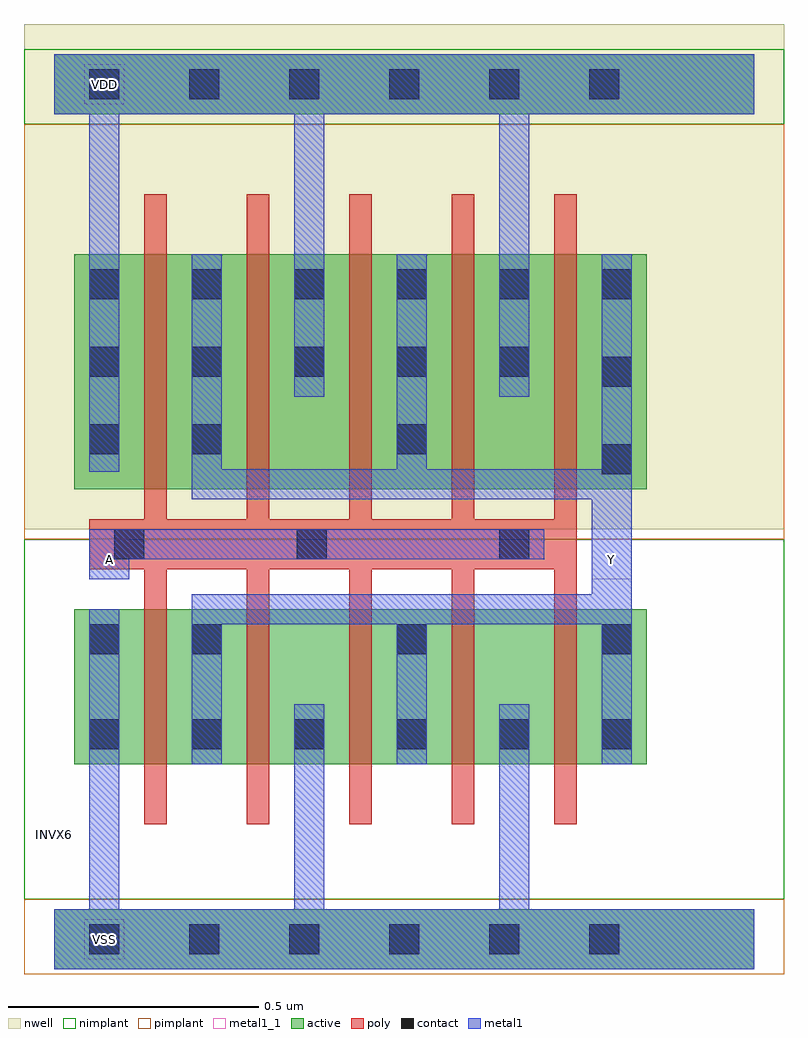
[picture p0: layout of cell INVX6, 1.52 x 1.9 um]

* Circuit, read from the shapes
.subckt INVX6 A VDD VSS Y
M1 Y A VSS VSS nfet w=0.31u l=0.045u m=5
M2 Y A VDD VDD pfet w=0.47u l=0.045u m=5
.ends

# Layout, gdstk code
import gdstk
lib = gdstk.Library(unit=1e-6, precision=5e-10)
def R(c, l, rs):  # rectangles x0, y0, x1, y1
    for r in rs: c.add(gdstk.rectangle(r[:2], r[2:], *l))
def A(c, l, x, y, w, h, nx, ny, dx, dy):  # array of equal rectangles
    R(c, l, [(x+i*dx, y+j*dy, x+i*dx+w, y+j*dy+h) for i in range(nx) for j in range(ny)])
def P(c, l, *ps):  # polygons
    for p in ps: c.add(gdstk.Polygon(p, *l))
active = (1, 0)
nwell = (2, 0)
poly = (3, 0)
nimplant = (4, 0)
pimplant = (5, 0)
contact = (6, 0)
metal1 = (7, 0)
metal1_1 = (7, 1)

invx6 = lib.new_cell('INVX6')
R(invx6, active, [(0,-0.06,1.4,0.06), (0.04,0.35,1.185,0.66), (0.04,0.9,1.185,1.37), (0,1.65,1.4,1.77)])
R(invx6, nwell, [(-0.06,0.82,1.46,1.83)])
P(invx6, poly, [(1.045,1.49),(1,1.49),(1,0.84),(0.84,0.84),(0.84,1.49),(0.795,1.49),(0.795,0.84),(0.635,0.84),(0.635,1.49),(0.59,1.49),(0.59,0.84),(0.43,0.84),(0.43,1.49),(0.385,1.49),(0.385,0.84),(0.225,0.84),(0.225,1.49),(0.18,1.49),(0.18,0.84),(0.07,0.84),(0.07,0.74),(0.18,0.74),(0.18,0.23),(0.225,0.23),(0.225,0.74),(0.385,0.74),(0.385,0.23),(0.43,0.23),(0.43,0.74),(0.59,0.74),(0.59,0.23),(0.635,0.23),(0.635,0.74),(0.795,0.74),(0.795,0.23),(0.84,0.23),(0.84,0.74),(1,0.74),(1,0.23),(1.045,0.23)])
R(invx6, nimplant, [(-0.06,0.08,1.46,0.8), (-0.06,1.63,1.46,1.78)])
R(invx6, pimplant, [(-0.06,-0.07,1.46,0.08), (-0.06,0.8,1.46,1.63)])
A(invx6, contact, 0.07, -0.03, 0.06, 0.06, 6, 2, 0.2, 1.71)
A(invx6, contact, 0.07, 0.38, 0.06, 0.06, 6, 2, 0.205, 0.9)
A(invx6, contact, 0.275, 0.57, 0.06, 0.06, 3, 1, 0.41, 0)
A(invx6, contact, 0.07, 1.125, 0.06, 0.06, 5, 1, 0.205, 0)
R(invx6, contact, [(0.07,0.57,0.13,0.63), (0.12,0.76,0.18,0.82), (0.485,0.76,0.545,0.82), (0.89,0.76,0.95,0.82), (1.095,0.93,1.155,0.99), (0.07,0.97,0.13,1.03), (0.275,0.97,0.335,1.03), (0.685,0.97,0.745,1.03), (1.095,1.105,1.155,1.165)])
P(invx6, metal1, [(1.155,1.37),(1.095,1.37),(1.095,0.94),(0.745,0.94),(0.745,1.37),(0.685,1.37),(0.685,0.94),(0.335,0.94),(0.335,1.37),(0.275,1.37),(0.275,0.88),(1.075,0.88),(1.075,0.69),(0.275,0.69),(0.275,0.35),(0.335,0.35),(0.335,0.63),(0.685,0.63),(0.685,0.35),(0.745,0.35),(0.745,0.63),(1.095,0.63),(1.095,0.35),(1.155,0.35)],
  [(0.98,0.82),(0.07,0.82),(0.07,0.72),(0.15,0.72),(0.15,0.76),(0.98,0.76)],
  [(0.07,0.66),(0.13,0.66),(0.13,0.06),(0.48,0.06),(0.48,0.47),(0.54,0.47),(0.54,0.06),(0.89,0.06),(0.89,0.47),(0.95,0.47),(0.95,0.06),(1.4,0.06),(1.4,-0.06),(0,-0.06),(0,0.06),(0.07,0.06)],
  [(1.4,1.77),(0,1.77),(0,1.65),(0.07,1.65),(0.07,0.935),(0.13,0.935),(0.13,1.65),(0.48,1.65),(0.48,1.085),(0.54,1.085),(0.54,1.65),(0.89,1.65),(0.89,1.085),(0.95,1.085),(0.95,1.65),(1.4,1.65)])
R(invx6, metal1_1, [(0.06,-0.04,0.14,0.04), (0.07,0.72,0.15,0.8), (1.075,0.72,1.155,0.8), (0.06,1.67,0.14,1.75)])
invx6.add(gdstk.Label('VSS', (0.1,0), layer=7, texttype=1))
invx6.add(gdstk.Label('Y', (1.115,0.76), layer=7, texttype=1))
invx6.add(gdstk.Label('A', (0.11,0.76), layer=7, texttype=1))
invx6.add(gdstk.Label('VDD', (0.1,1.71), layer=7, texttype=1))
invx6.add(gdstk.Label('INVX6', (0,0.21), layer=63, texttype=0))

lib.write_gds('INVX6.gds')
